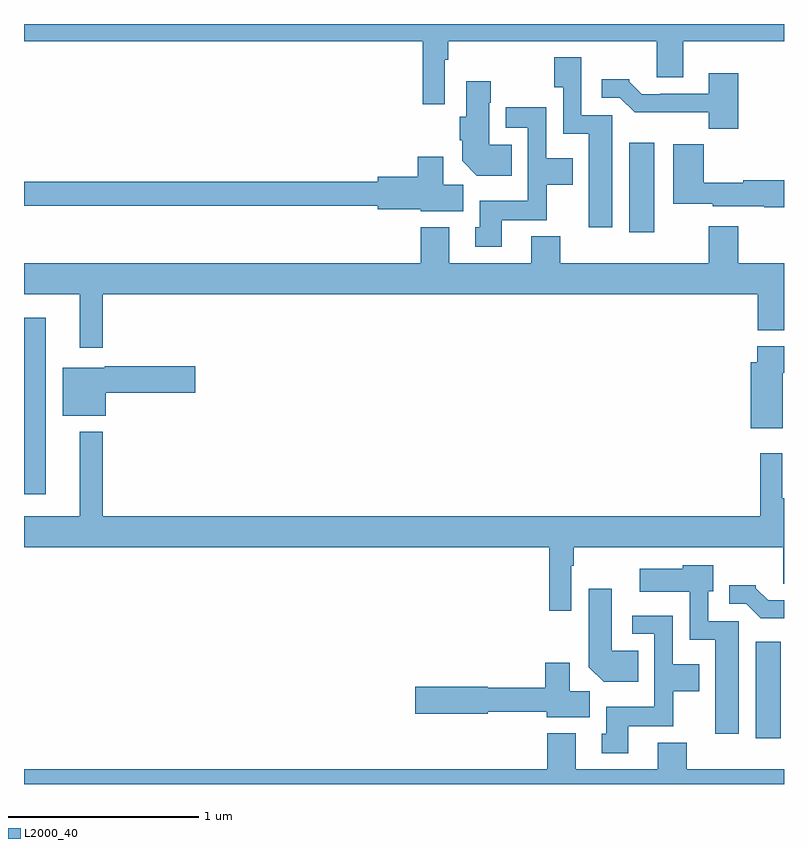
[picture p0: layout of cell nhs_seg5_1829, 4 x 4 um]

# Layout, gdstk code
import gdstk
lib = gdstk.Library(unit=1e-6, precision=1e-09)
def R(c, l, rs):  # rectangles x0, y0, x1, y1
    for r in rs: c.add(gdstk.rectangle(r[:2], r[2:], *l))
def P(c, l, *ps):  # polygons
    for p in ps: c.add(gdstk.Polygon(p, *l))
L2000_40 = (2000, 40)

nhs_seg5_1829 = lib.new_cell('nhs_seg5_1829')
R(nhs_seg5_1829, L2000_40, [(222.851,905.04,222.982,905.548), (219,906.323,219.115,907.252), (222.185,907.704,222.316,908.173)])
P(nhs_seg5_1829, L2000_40, [(221.214,908.612),(221.234,908.612),(221.234,908.708),(222.329,908.708),(222.329,908.518),(222.469,908.518),(222.469,908.708),(223,908.708),(223,908.799),(219,908.799),(219,908.708),(221.098,908.708),(221.098,908.376),(221.214,908.376)],
  [(222.097,908.319),(221.934,908.319),(221.934,908.623),(221.791,908.623),(221.791,908.467),(221.838,908.467),(221.838,908.222),(221.972,908.222),(221.972,907.728),(222.097,907.728)],
  [(222.758,908.539),(222.605,908.539),(222.605,908.433),(222.349,908.433),(222.349,908.43),(222.25,908.43),(222.186,908.494),(222.186,908.509),(222.042,908.509),(222.042,908.412),(222.135,908.412),(222.214,908.334),(222.603,908.334),(222.603,908.249),(222.758,908.249)],
  [(221.567,908.164),(221.449,908.164),(221.449,908.384),(221.457,908.384),(221.457,908.497),(221.327,908.497),(221.327,908.31),(221.294,908.31),(221.294,908.188),(221.306,908.188),(221.306,908.078),(221.384,908),(221.567,908)],
  [(221.515,907.766),(221.751,907.766),(221.751,907.952),(221.887,907.952),(221.887,908.092),(221.748,908.092),(221.748,908.362),(221.535,908.362),(221.535,908.253),(221.652,908.253),(221.652,907.87),(221.399,907.87),(221.399,907.728),(221.375,907.728),(221.375,907.626),(221.515,907.626)],
  [(223,907.976),(222.786,907.976),(222.786,907.963),(222.578,907.963),(222.578,908.167),(222.416,908.167),(222.416,907.853),(222.624,907.853),(222.624,907.841),(222.896,907.841),(222.896,907.834),(223,907.834)],
  [(221.311,907.952),(221.206,907.952),(221.206,908.101),(221.072,908.101),(221.072,907.994),(220.862,907.994),(220.862,907.97),(219,907.97),(219,907.842),(220.862,907.842),(220.862,907.823),(221.088,907.823),(221.088,907.814),(221.311,907.814)],
  [(219.415,907.376),(222.863,907.376),(222.863,907.187),(223,907.187),(223,907.54),(222.758,907.54),(222.758,907.735),(222.605,907.735),(222.605,907.54),(221.822,907.54),(221.822,907.681),(221.669,907.681),(221.669,907.54),(221.239,907.54),(221.239,907.729),(221.087,907.729),(221.087,907.54),(219,907.54),(219,907.376),(219.293,907.376),(219.293,907.095),(219.415,907.095)],
  [(222.994,906.964),(223,906.964),(223,907.102),(222.86,907.102),(222.86,907.02),(222.824,907.02),(222.824,906.672),(222.994,906.672)],
  [(219.43,906.857),(219.901,906.857),(219.901,906.999),(219.426,906.999),(219.426,906.991),(219.203,906.991),(219.203,906.737),(219.43,906.737)],
  [(222.995,905.854),(223,905.854),(223,906.304),(222.99,906.304),(222.99,906.541),(222.874,906.541),(222.874,906.208),(219.415,906.208),(219.415,906.652),(219.293,906.652),(219.293,906.208),(219,906.208),(219,906.044),(221.764,906.044),(221.764,905.712),(221.88,905.712),(221.88,905.948),(221.893,905.948),(221.893,906.044),(222.995,906.044)],
  [(222.763,905.655),(222.6,905.655),(222.6,905.814),(222.628,905.814),(222.628,905.95),(222.468,905.95),(222.468,905.932),(222.24,905.932),(222.24,905.81),(222.504,905.81),(222.504,905.558),(222.638,905.558),(222.638,905.064),(222.763,905.064)],
  [(223,905.766),(222.916,905.766),(222.852,905.83),(222.852,905.845),(222.713,905.845),(222.713,905.748),(222.801,905.748),(222.877,905.672),(223,905.672)],
  [(222.233,905.5),(222.094,905.5),(222.094,905.827),(221.972,905.827),(221.972,905.414),(222.05,905.336),(222.233,905.336)],
  [(222.181,905.102),(222.417,905.102),(222.417,905.288),(222.553,905.288),(222.553,905.428),(222.414,905.428),(222.414,905.685),(222.201,905.685),(222.201,905.589),(222.318,905.589),(222.318,905.206),(222.065,905.206),(222.065,905.064),(222.041,905.064),(222.041,904.962),(222.181,904.962)],
  [(221.977,905.288),(221.872,905.288),(221.872,905.437),(221.743,905.437),(221.743,905.306),(221.442,905.306),(221.442,905.312),(221.058,905.312),(221.058,905.17),(221.442,905.17),(221.442,905.178),(221.75,905.178),(221.75,905.15),(221.977,905.15)],
  [(223,904.876),(222.488,904.876),(222.488,905.017),(222.335,905.017),(222.335,904.876),(221.905,904.876),(221.905,905.065),(221.753,905.065),(221.753,904.876),(219,904.876),(219,904.799),(223,904.799)])

lib.write_gds('nhs_seg5_1829.gds')
